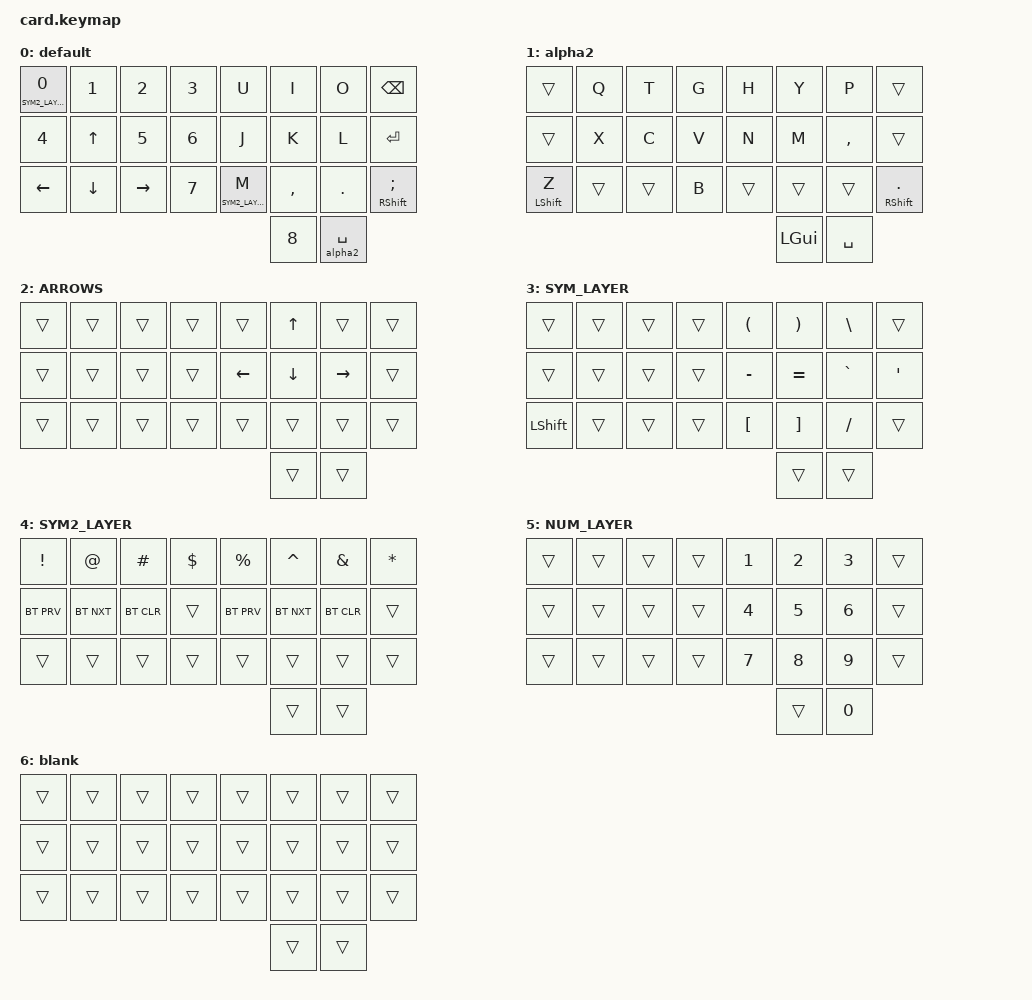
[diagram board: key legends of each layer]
/*
 * Copyright (c) 2020 The ZMK Contributors
 *
 * SPDX-License-Identifier: MIT
 */

#include <behaviors.dtsi>
#include <dt-bindings/zmk/keys.h>
#include <dt-bindings/zmk/bt.h>

&mt {
    tapping-term-ms = <201>;
    flavor = "tap-preferred";
 };
&sk {
     release-after-ms = <2000>;
     quick-release;
 };

#define default 	0
#define alpha2	1
#define ARROWS 	2
#define SYM_LAYER	3
#define SYM2_LAYER	4
#define NUM_LAYER	5
#define blank		6

/ {
	behaviors {
		hl: homerow_layers {
			compatible = "zmk,behavior-hold-tap";
			label = "HOMEROW_LAYERS";
			#binding-cells = <2>;
			tapping-term-ms = <220>;
			quick_tap_ms = <0>;
			flavor = "tap-preferred";
			bindings = <&mo>, <&kp>;
		};
	};

	keymap {
		compatible = "zmk,keymap";

		default {
		bindings = <
		&lt SYM2_LAYER NUMBER_0 	&kp NUMBER_1 	   	&kp NUMBER_2 					&kp NUMBER_3							&kp U							&kp I    		&kp O				&kp BACKSPACE
		&kp NUMBER_4 	&kp UP_ARROW 	&kp NUMBER_5	&kp NUMBER_6  	&kp J							&kp K    		&kp L 			&kp RET
		&kp LEFT_ARROW		&kp DOWN_ARROW		&kp RIGHT_ARROW 			&kp NUMBER_7	  	&lt SYM2_LAYER M	&kp COMMA 	&kp DOT			&mt RSHIFT SEMI
																							&kp NUMBER_8					&lt alpha2 SPACE
		>;
		};

		alpha2 {
		bindings = <
		&trans			&kp Q 	   	&kp T 		&kp G			&kp H		&kp Y    		&kp P				&trans
		&trans 			&kp X 			&kp C			&kp V  	 	&kp N		&kp M    		&kp COMMA 			&trans
		&mt LSHIFT Z 	&trans 		&trans 		&kp B  		&trans		&trans 	&trans			&mt RSHIFT DOT
																				&kp LGUI	&kp SPC
		>;
		};

		ARROWS {
		bindings = <
		&trans	&trans 	&trans	&trans	&trans					&kp UP_ARROW    &trans					&trans
		&trans 	&trans 	&trans	&trans  &kp LEFT_ARROW	&kp DOWN_ARROW  &kp RIGHT_ARROW	&trans
		&trans 	&trans 	&trans 	&trans	&trans 					&trans					&trans					&trans
														&trans	&trans
		>;
		};

		SYM_LAYER {
		bindings = <
		&trans			&trans 	&trans	&trans	&kp LEFT_PARENTHESIS	&kp RIGHT_PARENTHESIS	&kp BACKSLASH 		&trans
		&trans 			&trans 	&trans	&trans  &kp MINUS							&kp EQUAL	  					&kp GRAVE 				&kp SINGLE_QUOTE
		&kp LSHFT 	&trans 	&trans 	&trans	&kp LEFT_BRACKET			&kp RIGHT_BRACKET			&kp SLASH					&trans
																&trans	&trans
		>;
		};

		SYM2_LAYER {
		bindings = <
		&kp EXCLAMATION	&kp AT_SIGN 	&kp HASH	&kp DOLLAR	&kp PERCENT	&kp CARET	&kp AMPERSAND	&kp ASTERISK
		&bt BT_PRV	&bt BT_NXT  &bt BT_CLR	&trans  &bt BT_PRV	&bt BT_NXT  &bt BT_CLR	&trans
		&trans 	&trans 	&trans 	&trans	&trans 	&trans	&trans	&trans
														&trans	&trans
		>;
		};

		NUM_LAYER {
		bindings = <
		&trans	&trans 	&trans	&trans	&kp NUMBER_1	&kp NUMBER_2	&kp NUMBER_3	&trans
		&trans	&trans 	&trans	&trans	&kp NUMBER_4	&kp NUMBER_5	&kp NUMBER_6	&trans
		&trans	&trans 	&trans	&trans	&kp NUMBER_7	&kp NUMBER_8	&kp NUMBER_9	&trans
														&trans	&kp NUMBER_0
		>;
		};

		blank {
		bindings = <
		&trans	&trans 	&trans	&trans	&trans	&trans	&trans	&trans
		&trans 	&trans 	&trans	&trans  &trans	&trans  &trans	&trans
		&trans 	&trans 	&trans 	&trans	&trans 	&trans	&trans	&trans
														&trans	&trans
		>;
		};
	};
};
